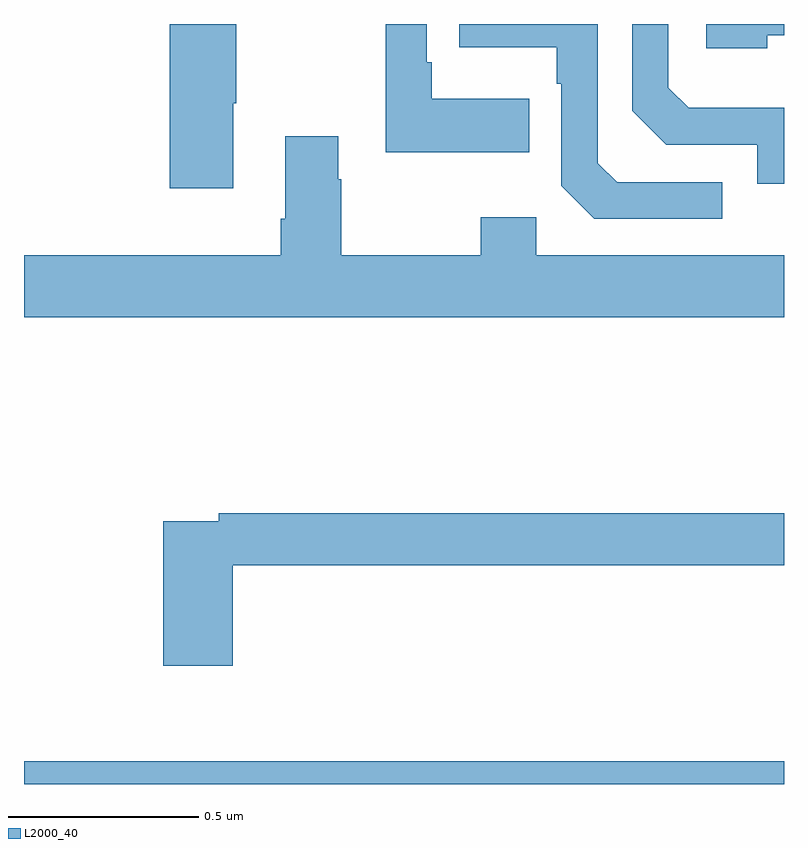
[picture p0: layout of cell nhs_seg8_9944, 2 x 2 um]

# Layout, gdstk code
import gdstk
lib = gdstk.Library(unit=1e-6, precision=1e-09)
def R(c, l, rs):  # rectangles x0, y0, x1, y1
    for r in rs: c.add(gdstk.rectangle(r[:2], r[2:], *l))
def P(c, l, *ps):  # polygons
    for p in ps: c.add(gdstk.Polygon(p, *l))
L2000_40 = (2000, 40)

nhs_seg8_9944 = lib.new_cell('nhs_seg8_9944')
R(nhs_seg8_9944, L2000_40, [(242,1153.9,244,1153.96)])
P(nhs_seg8_9944, L2000_40, [(242.551,1155.691),(242.559,1155.691),(242.559,1155.9),(242.384,1155.9),(242.384,1155.468),(242.551,1155.468)],
  [(243.329,1155.703),(243.073,1155.703),(243.073,1155.799),(243.06,1155.799),(243.06,1155.9),(242.952,1155.9),(242.952,1155.563),(243.329,1155.563)],
  [(244,1155.679),(243.749,1155.679),(243.696,1155.732),(243.696,1155.9),(243.6,1155.9),(243.6,1155.672),(243.69,1155.582),(243.93,1155.582),(243.93,1155.48),(244,1155.48)],
  [(243.956,1155.87),(244,1155.87),(244,1155.9),(243.795,1155.9),(243.795,1155.836),(243.956,1155.836)],
  [(243.838,1155.483),(243.561,1155.483),(243.51,1155.534),(243.51,1155.9),(243.145,1155.9),(243.145,1155.839),(243.402,1155.839),(243.402,1155.743),(243.414,1155.743),(243.414,1155.474),(243.501,1155.387),(243.838,1155.387)],
  [(244,1155.292),(243.348,1155.292),(243.348,1155.391),(243.202,1155.391),(243.202,1155.292),(242.835,1155.292),(242.835,1155.491),(242.827,1155.491),(242.827,1155.604),(242.687,1155.604),(242.687,1155.388),(242.675,1155.388),(242.675,1155.292),(242,1155.292),(242,1155.128),(244,1155.128)],
  [(242.549,1154.476),(244,1154.476),(244,1154.612),(242.512,1154.612),(242.512,1154.592),(242.366,1154.592),(242.366,1154.211),(242.549,1154.211)])

lib.write_gds('nhs_seg8_9944.gds')
